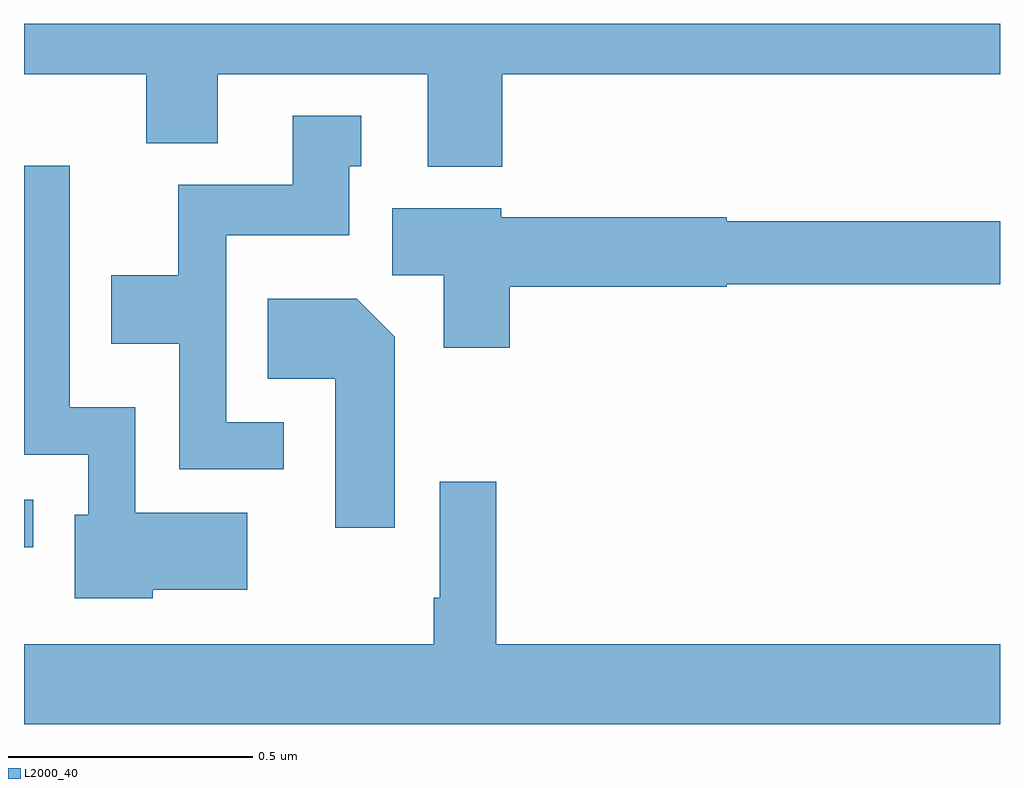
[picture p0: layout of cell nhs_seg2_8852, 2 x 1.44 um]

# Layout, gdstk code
import gdstk
lib = gdstk.Library(unit=1e-6, precision=1e-09)
def R(c, l, rs):  # rectangles x0, y0, x1, y1
    for r in rs: c.add(gdstk.rectangle(r[:2], r[2:], *l))
def P(c, l, *ps):  # polygons
    for p in ps: c.add(gdstk.Polygon(p, *l))
L2000_40 = (2000, 40)

nhs_seg2_8852 = lib.new_cell('nhs_seg2_8852')
R(nhs_seg2_8852, L2000_40, [(222,586.727,222.019,586.824)])
P(nhs_seg2_8852, L2000_40, [(222,587.696),(222.25,587.696),(222.25,587.555),(222.397,587.555),(222.397,587.696),(222.827,587.696),(222.827,587.507),(222.98,587.507),(222.98,587.696),(224,587.696),(224,587.8),(222,587.8)],
  [(222.532,586.983),(222.414,586.983),(222.414,587.366),(222.667,587.366),(222.667,587.508),(222.691,587.508),(222.691,587.611),(222.551,587.611),(222.551,587.47),(222.316,587.47),(222.316,587.284),(222.179,587.284),(222.179,587.144),(222.318,587.144),(222.318,586.887),(222.532,586.887)],
  [(222.264,586.64),(222.457,586.64),(222.457,586.798),(222.228,586.798),(222.228,587.014),(222.094,587.014),(222.094,587.509),(222,587.509),(222,586.917),(222.132,586.917),(222.132,586.794),(222.104,586.794),(222.104,586.622),(222.264,586.622)],
  [(222.995,587.261),(223.44,587.261),(223.44,587.266),(224,587.266),(224,587.395),(223.44,587.395),(223.44,587.403),(222.978,587.403),(222.978,587.422),(222.755,587.422),(222.755,587.284),(222.86,587.284),(222.86,587.136),(222.995,587.136)],
  [(222.76,587.158),(222.682,587.236),(222.499,587.236),(222.499,587.072),(222.638,587.072),(222.638,586.767),(222.76,586.767)],
  [(224,586.528),(222.968,586.528),(222.968,586.861),(222.852,586.861),(222.852,586.624),(222.84,586.624),(222.84,586.528),(222,586.528),(222,586.364),(224,586.364)])

lib.write_gds('nhs_seg2_8852.gds')
